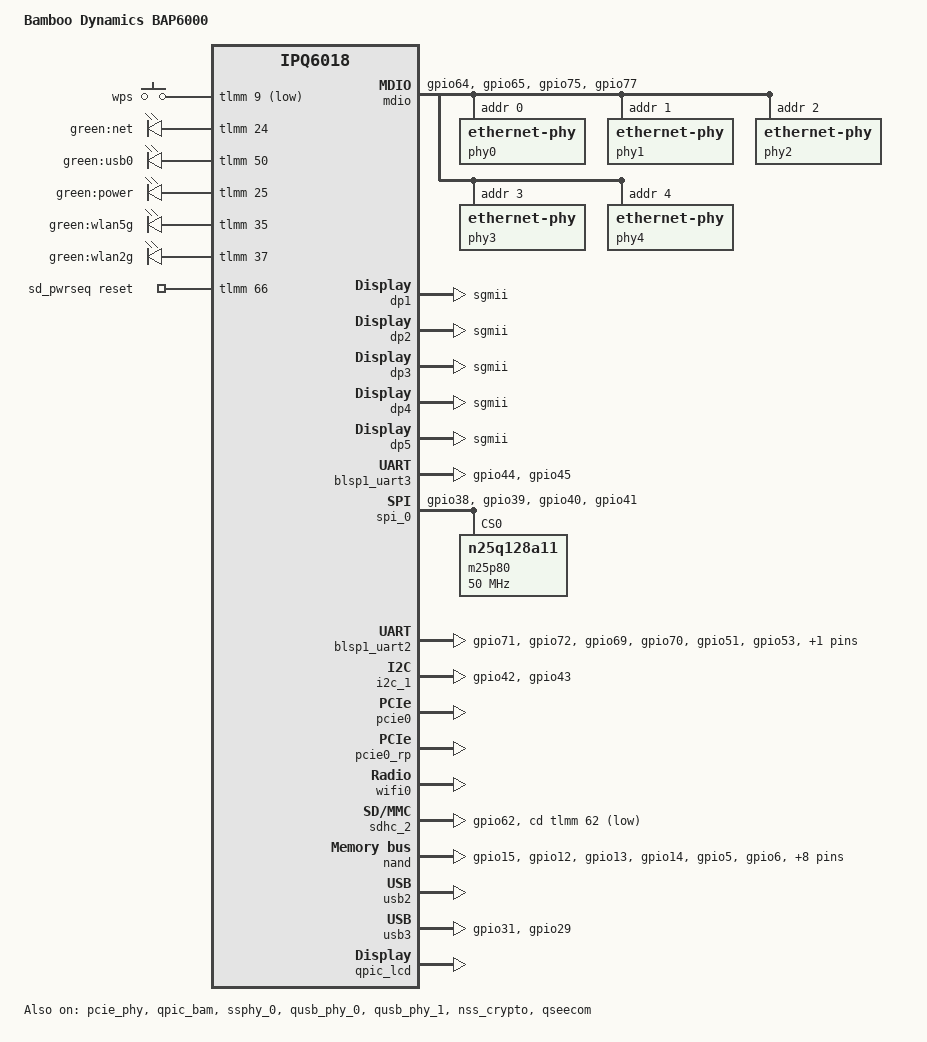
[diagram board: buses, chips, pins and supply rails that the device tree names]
/*
 * Copyright (c) 2019, The Linux Foundation. All rights reserved.
 *
 * Permission to use, copy, modify, and/or distribute this software for any
 * purpose with or without fee is hereby granted, provided that the above
 * copyright notice and this permission notice appear in all copies.
 *
 * THE SOFTWARE IS PROVIDED "AS IS" AND THE AUTHOR DISCLAIMS ALL WARRANTIES
 * WITH REGARD TO THIS SOFTWARE INCLUDING ALL IMPLIED WARRANTIES OF
 * MERCHANTABILITY AND FITNESS. IN NO EVENT SHALL THE AUTHOR BE LIABLE FOR
 * ANY SPECIAL, DIRECT, INDIRECT, OR CONSEQUENTIAL DAMAGES OR ANY DAMAGES
 * WHATSOEVER RESULTING FROM LOSS OF USE, DATA OR PROFITS, WHETHER IN AN
 * ACTION OF CONTRACT, NEGLIGENCE OR OTHER TORTIOUS ACTION, ARISING OUT OF
 * OR IN CONNECTION WITH THE USE OR PERFORMANCE OF THIS SOFTWARE.
 */
/dts-v1/;

#include "qcom-ipq6018.dtsi"
#include "qcom-ipq6018-rpm-regulator.dtsi"
#include "qcom-ipq6018-cpr-regulator.dtsi"
#include "qcom-ipq6018-cp-cpu.dtsi"
#include <dt-bindings/input/input.h>
#include <dt-bindings/gpio/gpio.h>

/ {
	#address-cells = <0x2>;
	#size-cells = <0x2>;
	model = "Bamboo Dynamics BAP6000";
	compatible = "bamboo-dynamics,bap6000", "qcom,ap-cp01-c3", "qcom,ipq6018-cp01", "qcom,ipq6018";
	interrupt-parent = <&intc>;
	qcom,msm-id = <0x192 0x0>, <0x193 0x0>;

	aliases {
		led-boot = &led_power;
		led-failsafe = &led_power;
		led-running = &led_power;
		led-upgrade = &led_power;

		serial0 = &blsp1_uart3;
		serial1 = &blsp1_uart2;
		sdhc2 = &sdhc_2;
		/*
		 * Aliases as required by u-boot
		 * to patch MAC addresses
		 */
		ethernet0 = "/soc/dp1";
		ethernet1 = "/soc/dp2";
		ethernet2 = "/soc/dp3";
		ethernet3 = "/soc/dp4";
		ethernet4 = "/soc/dp5";
	};

	chosen {
		bootargs-append = " root=/dev/ubiblock0_1 swiotlb=1 coherent_pool=2M";
	};

	/*
	 * +=========+==============+========================+
	 * |        |              |                         |
	 * | Region | Start Offset |          Size           |
	 * |        |              |                         |
	 * +--------+--------------+-------------------------+
	 * |        |              |                         |
	 * |        |              |                         |
	 * |        |              |                         |
	 * |        |              |                         |
	 * | Linux  |  0x41000000  |         139MB           |
	 * |        |              |                         |
	 * |        |              |                         |
	 * |        |              |                         |
	 * +--------+--------------+-------------------------+
	 * | TZ App |  0x49B00000  |           6MB           |
	 * +--------+--------------+-------------------------+
	 *
	 * From the available 145 MB for Linux in the first 256 MB,
	 * we are reserving 6 MB for TZAPP.
	 *
	 * Refer arch/arm64/boot/dts/qcom/qcom-ipq6018-memory.dtsi
	 * for memory layout.
	 */

	reserved-memory {
/* TZAPP is enabled in default memory profile only */
#if !defined(__IPQ_MEM_PROFILE_256_MB__) && !defined(__IPQ_MEM_PROFILE_512_MB__)
		tzapp:tzapp@49B00000 {	/* TZAPPS */
			no-map;
			reg = <0x0 0x49B00000 0x0 0x00600000>;
		};
#endif

/* No Pine attach in 256M profile */
#if !defined(__IPQ_MEM_PROFILE_256_MB__)
#ifdef __IPQ_MEM_PROFILE_512_MB__
		/*	    512 MB Profile for cp01-c3
		 * +========+==============+=========================+
		 * | Region | Start Offset |          Size           |
		 * +--------+--------------+-------------------------+
		 * |  NSS   |  0x40000000  |          16MB           |
		 * +--------+--------------+-------------------------+
		 * |        |              |                         |
		 * | Linux  |  0x41000000  |         145MB           |
		 * |        |              |                         |
		 * +--------+--------------+-------------------------+
		 * | uboot  |  0x4A100000  |           4MB           |
		 * +--------+--------------+-------------------------+
		 * |  SBL   |  0x4A500000  |           1MB           |
		 * +--------+--------------+-------------------------+
		 * | TZ+HYP |  0x4A600000  |           4MB           |
		 * +--------+--------------+-------------------------+
		 * |  smem  |  0x4AA00000  |           1MB           |
		 * +--------+--------------+-------------------------+
		 * |   Q6   |  0x4AB00000  |          55MB           |
		 * +--------+--------------+-------------------------+
		 * |  QDSS  |  0x4E200000  |           1MB           |
		 * +--------+--------------+-------------------------+
		 * | M3 Dump|  0x4E300000  |           1MB           |
		 * +--------+--------------+-------------------------+
		 * |  Pine  |  0x4E400000  |          30MB           |
		 * +--------+--------------+-------------------------+
		 * |  MHI0  |  0x50200000  |          16MB           |
		 * +=================================================+
		 * |           Remaining memory for Linux            |
		 * +=================================================+
		 */
		qcn9000_pcie0@4e400000 {
			no-map;
			reg = <0x0 0x4E400000 0x0 0x1E00000>;
		};

		mhi_region0: dma_pool0@50200000 {
			compatible = "shared-dma-pool";
			no-map;
			reg = <0x0 0x50200000 0x0 0x01000000>;
		};
#else
		/*		  Default Profile
		 * +========+==============+=========================+
		 * | Region | Start Offset |          Size           |
		 * +--------+--------------+-------------------------+
		 * |  NSS   |  0x40000000  |          16MB           |
		 * +--------+--------------+-------------------------+
		 * | Linux  |  0x41000000  |         145MB           |
		 * +--------+--------------+-------------------------+
		 * | uboot  |  0x4A100000  |           4MB           |
		 * +--------+--------------+-------------------------+
		 * |  SBL   |  0x4A500000  |           1MB           |
		 * +--------+--------------+-------------------------+
		 * | TZ+HYP |  0x4A600000  |           4MB           |
		 * +--------+--------------+-------------------------+
		 * |  smem  |  0x4AA00000  |           1MB           |
		 * +--------+--------------+-------------------------+
		 * |   Q6   |  0x4AB00000  |          85MB           |
		 * +--------+--------------+-------------------------+
		 * |  QDSS  |  0x50000000  |           1MB           |
		 * +--------+--------------+-------------------------+
		 * | M3 Dump|  0x50100000  |           1MB           |
		 * +--------+--------------+-------------------------+
		 * |  Pine  |  0x50200000  |          45MB           |
		 * +--------+--------------+-------------------------+
		 * |  MHI0  |  0x52F00000  |          24MB           |
		 * +=================================================+
		 * |           Remaining memory for Linux            |
		 * +=================================================+
		 */
		qcn9000_pcie0@50200000 {
			no-map;
			reg = <0x0 0x50200000 0x0 0x02D00000>;
		};

		mhi_region0: dma_pool0@52f00000 {
			compatible = "shared-dma-pool";
			no-map;
			reg = <0x0 0x52F00000 0x0 0x01800000>;
		};
#endif
#endif
	};
};

&tlmm {
	pinctrl-0 = <&sd_ldo_pins>;
	pinctrl-names = "default";

	uart_pins: uart_pins {
		mux {
			pins = "gpio44", "gpio45";
			function = "blsp2_uart";
			drive-strength = <8>;
			bias-pull-down;
		};
	};

	sd_ldo_pins: sd_ldo_pins {
		mux {
			pins = "gpio66";
			function = "gpio";
			drive-strength = <2>;
			bias-disable;
			output-low;
		};
	};

	spi_0_pins: spi_0_pins {
		mux {
			pins = "gpio38", "gpio39", "gpio40", "gpio41";
			function = "blsp0_spi";
			drive-strength = <8>;
			bias-pull-down;
		};
	};

	// spi_1_pins: spi_1_pins {
	// 	mux {
	// 		pins = "gpio69", "gpio71", "gpio72";
	// 		function = "blsp1_spi";
	// 		drive-strength = <8>;
	// 		bias-pull-down;
	// 	};
	// 	spi_cs {
	// 		pins = "gpio70";
	// 		function = "blsp1_spi";
	// 		drive-strength = <8>;
	// 		bias-disable;
	// 	};
	// 	quartz_interrupt {
	// 		pins = "gpio78";
	// 		function = "gpio";
	// 		input;
	// 		bias-disable;
	// 	};
	// 	quartz_reset {
	// 		pins = "gpio79";
	// 		function = "gpio";
	// 		output-low;
	// 		bias-disable;
	// 	};

	// };

	qpic_pins: qpic_pins {
		data_0 {
			pins = "gpio15";
			function = "qpic_pad0";
			drive-strength = <8>;
			bias-pull-down;
		};
		data_1 {
			pins = "gpio12";
			function = "qpic_pad1";
			drive-strength = <8>;
			bias-pull-down;
		};
		data_2 {
			pins = "gpio13";
			function = "qpic_pad2";
			drive-strength = <8>;
			bias-pull-down;
		};
		data_3 {
			pins = "gpio14";
			function = "qpic_pad3";
			drive-strength = <8>;
			bias-pull-down;
		};
		data_4 {
			pins = "gpio5";
			function = "qpic_pad4";
			drive-strength = <8>;
			bias-pull-down;
		};
		data_5 {
			pins = "gpio6";
			function = "qpic_pad5";
			drive-strength = <8>;
			bias-pull-down;
		};
		data_6 {
			pins = "gpio7";
			function = "qpic_pad6";
			drive-strength = <8>;
			bias-pull-down;
		};
		data_7 {
			pins = "gpio8";
			function = "qpic_pad7";
			drive-strength = <8>;
			bias-pull-down;
		};
		qpic_pad {
			pins = "gpio1", "gpio3", "gpio4",
			       "gpio10", "gpio11", "gpio17";
			function = "qpic_pad";
			drive-strength = <8>;
			bias-pull-down;
		};
	};

	sd_pins: sd_pins {
		mux {
			pins = "gpio62";
			function = "sd_card";
			drive-strength = <8>;
			bias-pull-up;
		};
	};

	module_en: module_en {
		pins = "gpio31";
		function = "gpio";
		drive-strength = <8>;
		output-high;
		bias-pull-up;
	};

	// 低电平生效，高电平关机
	module_power: module_power {
		pins = "gpio29";
		function = "gpio";
		drive-strength = <8>;
		output-low;
		bias-pull-down;
	};

	// extcon_usb_pins: extcon_usb_pins {
	// 	mux {
	// 		pins = "gpio26";
	// 		function = "gpio";
	// 		drive-strength = <2>;
	// 		bias-pull-down;
	// 	};
	// };

	button_pins: button_pins {
		wps_button {
			pins = "gpio9";
			function = "gpio";
			drive-strength = <8>;
			bias-pull-up;
		};
	};

	mdio_pins: mdio_pinmux {
		mux_0 {
			pins = "gpio64";
			function = "mdc";
			drive-strength = <8>;
			bias-pull-up;
		};
		mux_1 {
			pins = "gpio65";
			function = "mdio";
			drive-strength = <8>;
			bias-pull-up;
		};
		mux_2 {
			pins = "gpio75";
			function = "gpio";
			bias-pull-up;
		};
		mux_3 {
			pins = "gpio77";
			function = "gpio";
			bias-pull-up;
		};
	};

	leds_pins: leds_pins {
		power {
			pins = "gpio25";
			function = "gpio";
			drive-strength = <8>;
			bias-pull-down;
		};

		wlan5g {
			pins = "gpio35";
			function = "gpio";
			drive-strength = <8>;
			bias-pull-down;
		};

		wlan2g {
			pins = "gpio37";
			function = "gpio";
			drive-strength = <8>;
			bias-pull-down;
		};

		wan {
			pins = "gpio24";
			function = "gpio";
			drive-strength = <8>;
			bias-pull-down;
		};

		usb0 {
			pins = "gpio50";
			function = "gpio";
			drive-strength = <8>;
			bias-pull-down;
		};
	};

	hsuart_pins: hsuart_pins {
		mux {
			pins = "gpio71", "gpio72", "gpio69", "gpio70";
			function = "blsp1_uart";
			drive-strength = <8>;
			bias-disable;
		};
	};

	btcoex_pins: btcoex_pins {
		mux_0 {
			pins = "gpio51";
			function = "pta1_1";
			drive-strength = <6>;
			bias-pull-down;
		};
		mux_1 {
			pins = "gpio53";
			function = "pta1_0";
			drive-strength = <6>;
			bias-pull-down;
		};
		mux_2 {
			pins = "gpio52";
			function = "pta1_2";
			drive-strength = <6>;
			bias-pull-down;
		};
	};
};

&soc {
	// extcon_usb: extcon_usb {
	// 	pinctrl-0 = <&extcon_usb_pins>;
	// 	pinctrl-names = "default";
	// 	id-gpio = <&tlmm 26 GPIO_ACTIVE_LOW>;
	// 	status = "ok";
	// };

	mdio: mdio@90000 {
		pinctrl-0 = <&mdio_pins>;
		pinctrl-names = "default";
		phy-reset-gpio = <&tlmm 75 0 &tlmm 77 1>;
		status = "ok";
		phy0: ethernet-phy@0 {
			reg = <0>;
		};
		phy1: ethernet-phy@1 {
			reg = <1>;
		};
		phy2: ethernet-phy@2 {
			reg = <2>;
		};
		phy3: ethernet-phy@3 {
			reg = <3>;
		};
		phy4: ethernet-phy@4 {
			reg = <4>;
		};
	};

	dp1 {
		device_type = "network";
		compatible = "qcom,nss-dp";
		qcom,id = <1>;
		reg = <0x3a001000 0x200>;
		qcom,mactype = <0>;
		local-mac-address = [000000000000];
		qcom,link-poll = <1>;
		qcom,phy-mdio-addr = <0>;
		phy-mode = "sgmii";
	};

	dp2 {
		device_type = "network";
		compatible = "qcom,nss-dp";
		qcom,id = <2>;
		reg = <0x3a001200 0x200>;
		qcom,mactype = <0>;
		local-mac-address = [000000000000];
		qcom,link-poll = <1>;
		qcom,phy-mdio-addr = <1>;
		phy-mode = "sgmii";
	};

	dp3 {
		device_type = "network";
		compatible = "qcom,nss-dp";
		qcom,id = <3>;
		reg = <0x3a001400 0x200>;
		qcom,mactype = <0>;
		local-mac-address = [000000000000];
		qcom,link-poll = <1>;
		qcom,phy-mdio-addr = <2>;
		phy-mode = "sgmii";
	};

	dp4 {
		device_type = "network";
		compatible = "qcom,nss-dp";
		qcom,id = <4>;
		reg = <0x3a001600 0x200>;
		qcom,mactype = <0>;
		local-mac-address = [000000000000];
		qcom,link-poll = <1>;
		qcom,phy-mdio-addr = <3>;
		phy-mode = "sgmii";
	};

	dp5 {
		device_type = "network";
		compatible = "qcom,nss-dp";
		qcom,id = <5>;
		reg = <0x3a001800 0x200>;
		qcom,mactype = <0>;
		local-mac-address = [000000000000];
		qcom,link-poll = <1>;
		qcom,phy-mdio-addr = <4>;
		phy-mode = "sgmii";
	};

	ess-switch@3a000000 {
		switch_cpu_bmp = <0x1>;  /* cpu port bitmap */
		switch_lan_bmp = <0x1e>; /* lan port bitmap */
		switch_wan_bmp = <0x20>; /* wan port bitmap */
		switch_inner_bmp = <0xc0>; /*inner port bitmap*/
		switch_mac_mode = <0x0>; /* mac mode for uniphy instance0*/
		switch_mac_mode1 = <0xff>; /* mac mode for uniphy instance1*/
		switch_mac_mode2 = <0xff>; /* mac mode for uniphy instance2*/
		qcom,port_phyinfo {
			port@0 {
				port_id = <1>;
				phy_address = <0>;
			};
			port@1 {
				port_id = <2>;
				phy_address = <1>;
			};
			port@2 {
				port_id = <3>;
				phy_address = <2>;
			};
			port@3 {
				port_id = <4>;
				phy_address = <3>;
			};
			port@4 {
				port_id = <5>;
				phy_address = <4>;
			};
		};
	};

	gpio_keys {
		compatible = "gpio-keys";
		pinctrl-0 = <&button_pins>;
		pinctrl-names = "default";

		wps {
			label = "wps";
			linux,code = <KEY_RESTART>;
			gpios = <&tlmm 9 GPIO_ACTIVE_LOW>;
			linux,input-type = <1>;
			debounce-interval = <60>;
		};
	};

	leds {
		compatible = "gpio-leds";
		pinctrl-0 = <&leds_pins>;
		pinctrl-names = "default";

		led@24 {
			label = "green:net";
			gpios = <&tlmm 24 GPIO_ACTIVE_HIGH>;
		};

		led@50 {
			label = "green:usb0";
			gpios = <&tlmm 50 GPIO_ACTIVE_HIGH>;
		};

		led_power: led@25 {
			label = "green:power";
			gpios = <&tlmm 25 GPIO_ACTIVE_HIGH>;
		};

		led@35 {
			label = "green:wlan5g";
			gpios = <&tlmm 35 GPIO_ACTIVE_HIGH>;
		};

		led@37 {
			label = "green:wlan2g";
			gpios = <&tlmm 37 GPIO_ACTIVE_HIGH>;
		};

		// led@29 {
		// 	label = "green:led1";
		// 	gpios = <&tlmm 29 GPIO_ACTIVE_HIGH>;
		// };

		// led@33 {
		// 	label = "green:led2";
		// 	gpios = <&tlmm 33 GPIO_ACTIVE_HIGH>;
		// };

		// led@23 {
		// 	label = "green:led3";
		// 	gpios = <&tlmm 23 GPIO_ACTIVE_HIGH>;
		// };

		// led@53 {
		// 	label = "green:led4";
		// 	gpios = <&tlmm 53 GPIO_ACTIVE_HIGH>;
		// };
	};

	sd_pwrseq: sd-pwrseq {
		compatible = "mmc-pwrseq-ipq";
		reset-gpios = <&tlmm 66 GPIO_ACTIVE_HIGH>;
	};
};

&blsp1_uart3 {
	pinctrl-0 = <&uart_pins>;
	pinctrl-names = "default";
	status = "ok";
};

&spi_0 {
	pinctrl-0 = <&spi_0_pins>;
	pinctrl-names = "default";
	cs-select = <0>;
	status = "ok";

	m25p80@0 {
		#address-cells = <1>;
		#size-cells = <1>;
		reg = <0>;
		compatible = "n25q128a11";
		linux,modalias = "m25p80", "n25q128a11";
		spi-max-frequency = <50000000>;
		use-default-sizes;
	};
};

&blsp1_uart2 {
	pinctrl-0 = <&hsuart_pins &btcoex_pins>;
	pinctrl-names = "default";
	dmas = <&blsp_dma 2>,
		<&blsp_dma 3>;
	dma-names = "tx", "rx";
	status = "ok";
};

// &spi_1 { /* BLSP1 QUP1 */
// 	pinctrl-0 = <&spi_1_pins>;
// 	pinctrl-names = "default";
// 	cs-select = <0>;
// 	quartz-reset-gpio = <&tlmm 79 1>;
// 	status = "disabled";
// 	spidev1: spi@1 {
// 		compatible = "qca,spidev";
// 		reg = <0>;
// 		spi-max-frequency = <24000000>;
// 	};
// };

&tlmm {
	i2c_1_pins: i2c_1_pins {
		mux {
			pins = "gpio42", "gpio43";
			function = "blsp2_i2c";
			drive-strength = <8>;
			bias-pull-down;
		};
	};
};

&i2c_1 {
	pinctrl-0 = <&i2c_1_pins>;
	pinctrl-names = "default";
	status = "ok";
};

&pcie_phy {
	status = "ok";
};

&pcie0 {
	status = "ok";
};

&pcie0_rp {
	status = "ok";

	mhi_0: qcom,mhi@0 {
		reg = <0 0 0 0 0 >;
		qrtr_instance_id = <0x20>;
#if !defined(__IPQ_MEM_PROFILE_256_MB__)
		memory-region = <&mhi_region0>;
#endif
	};
};

&wifi0 {
	status = "ok";
};

&sdhc_2 {
	pinctrl-0 = <&sd_pins>;
	pinctrl-names = "default";
	cd-gpios = <&tlmm 62 1>;
	sd-ldo-gpios = <&tlmm 66 0>;
	vqmmc-supply = <&ipq6018_l2_corner>;
	status = "ok";
};

&qpic_bam {
	status = "ok";
};

&nand {
	pinctrl-0 = <&qpic_pins>;
	pinctrl-names = "default";
	status = "ok";
};

&ssphy_0 {
	status = "ok";
};

&qusb_phy_0 {
	status = "ok";
};

&qusb_phy_1 {
	status = "ok";
};

&usb2 {
	status = "ok";
};

&usb3 {
	pinctrl-0 = <&module_en>, <&module_power>;
	pinctrl-names = "default";
	status = "ok";
};

&nss_crypto {
	status = "ok";
};

&qpic_lcd {
	status = "ok";
};

&qpic_lcd_panel {
	status = "ok";
};

/* TZAPP is enabled in default memory profile only */
#if !defined(__IPQ_MEM_PROFILE_256_MB__) && !defined(__IPQ_MEM_PROFILE_512_MB__)
&qseecom {
	mem-start = <0x49B00000>;
	mem-size = <0x600000>;
	status = "ok";
};
#endif
